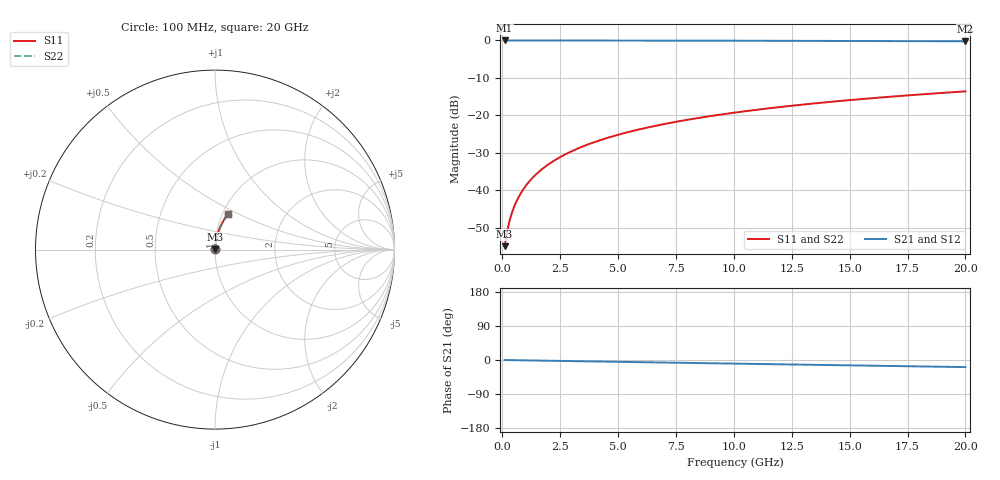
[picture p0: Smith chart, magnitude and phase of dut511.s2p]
! Touchstone file exported from HFSS 2026.1.0
!  File:  C:/ffzhzh/LocalFiles/Ansys_Project_Files/temp_train_BSMRDL_511_1783014382_4048.aedt
!  Generated:  01:47:43 AM Jul  3, 2026
!  Design:  BSMRDL
!  Project:  temp_train_BSMRDL_511_1783014382_4048
! Variables:
!  h_bsmrdl = 3.15um
!  h_ox = 20um
!  h_rdl = 5um
!  h_sub = 80um
!  h_tmrdl = 5um
!  h_tsv = 80um
!  h_via = 3um
!  l_bsmrdl = 213.1um
!  l_sub = 613.1um
!  l_tmrdl = 200um
!  m_sub = 200um
!  pitch = 53.61um
!  r_tsv = 6um
!  s_tmrdl = 10um
!  w_bsmrdl = 21.39um
!  w_sub = 500um
!  w_tmrdl = 12um
!  x_tsv_center1 = 206um
!  x_tsv_center2 = 440.49um
!  x_tsv_center3 = 652.49um
!  x_tsv_center4 = 886.98um
!  x_tsv_center5 = 1098.98um
!  x_tsv_center6 = 1333.47um
# GHz S MA R 50.000000
! Terminal data exported
! Port[1] = BSM_RDL1_1_T1
! Port[2] = BSM_RDL1_1_T2
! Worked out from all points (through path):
!   200 points, 100 MHz to 20 GHz, reference 50 ohm
!   highest |S21| = -0.01 dB at 100 MHz (marker M1); lowest = -0.2 dB at 20 GHz (marker M2)
!   group delay of S21, straight-line fit = 2.6 ps
!   lowest |S11| = -54.8 dB at 100 MHz (marker M3), VSWR 1.00, Z = 50.1 + j0.119 ohm
!   |S11| at or under -10 dB: start of sweep to end of sweep
!   |S22| runs from -54.8 to -13.6 dB; largest |S21 - S12| = 2.1e-15
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0.1  0.00181 41.0  0.9986 -0.1  0.9986 -0.1  0.00181 41.0
! Gamma 0 0 0 0
! Port Impedance 50 0 50 0
0.2  0.002749 59.0  0.9986 -0.2  0.9986 -0.2  0.002749 59.0
0.3  0.003798 67.1  0.9985 -0.3  0.9985 -0.3  0.003798 67.1
0.4  0.00487 71.5  0.9985 -0.4  0.9985 -0.4  0.00487 71.5
0.5  0.005948 74.3  0.9984 -0.5  0.9984 -0.5  0.005948 74.3
0.6  0.007027 76.3  0.9984 -0.6  0.9984 -0.6  0.007027 76.3
0.8  0.009194 78.9  0.9983 -0.8  0.9983 -0.8  0.009194 78.9
1.1  0.01246 81.1  0.9982 -1.1  0.9982 -1.1  0.01246 81.1
1.5  0.01685 82.6  0.9981 -1.5  0.9981 -1.5  0.01685 82.6
1.8  0.02015 83.2  0.998 -1.7  0.998 -1.7  0.02015 83.2
2.1  0.02345 83.5  0.9979 -2.0  0.9979 -2.0  0.02345 83.5
2.7  0.03005 83.8  0.9977 -2.6  0.9977 -2.6  0.03005 83.8
3.5  0.03884 83.6  0.9972 -3.4  0.9972 -3.4  0.03884 83.6
4.2  0.04651 83.3  0.9968 -4.1  0.9968 -4.1  0.04651 83.3
5  0.05524 82.8  0.9962 -4.8  0.9962 -4.8  0.05524 82.8
5.9  0.06501 82.1  0.9954 -5.7  0.9954 -5.7  0.06501 82.1
6.8  0.07471 81.4  0.9945 -6.5  0.9945 -6.5  0.07471 81.4
8.3  0.09074 80.1  0.9928 -8.0  0.9928 -8.0  0.09074 80.1
10.1  0.1097 78.6  0.9905 -9.6  0.9905 -9.6  0.1097 78.6
13.4  0.1439 75.7  0.9855 -12.7  0.9855 -12.7  0.1439 75.7
16.7  0.1771 72.8  0.9796 -15.7  0.9796 -15.7  0.1771 72.8
20  0.2093 69.9  0.9728 -18.7  0.9728 -18.7  0.2093 69.9
